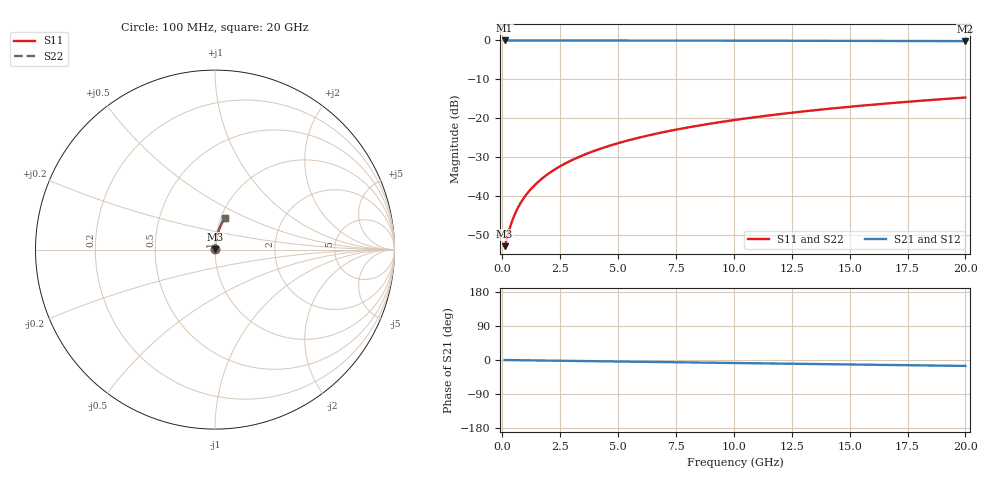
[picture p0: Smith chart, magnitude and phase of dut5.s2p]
! Touchstone file exported from HFSS 2026.1.0
!  File:  C:/ffzhzh/LocalFiles/Ansys_Project_Files/temp_val_TMRDL_5_1782902632_43084.aedt
!  Generated:  06:45:38 PM Jul  1, 2026
!  Design:  TMRDL
!  Project:  temp_val_TMRDL_5_1782902632_43084
! Variables:
!  h_bsmrdl = 2um
!  h_ox = 20um
!  h_rdl = 5um
!  h_sub = 80um
!  h_tmrdl = 2um
!  h_tsv = 80um
!  h_via = 3um
!  l_bsmrdl = 300um
!  l_sub = 565.6um
!  l_tmrdl = 165.6um
!  m_sub = 200um
!  pitch = 46.52um
!  r_tsv = 6um
!  s_tmrdl = 10um
!  w_bsmrdl = 18um
!  w_sub = 500um
!  w_tmrdl = 17.81um
!  x_tsv_center1 = 174.505um
!  x_tsv_center2 = 492.505um
!  x_tsv_center3 = 675.915um
!  x_tsv_center4 = 993.915um
!  x_tsv_center5 = 1177.325um
!  x_tsv_center6 = 1495.325um
# GHz S MA R 50.000000
! Terminal data exported
! Port[1] = TM_RDL1_1_T1
! Port[2] = TM_RDL1_1_T2
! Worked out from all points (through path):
!   200 points, 100 MHz to 20 GHz, reference 50 ohm
!   highest |S21| = -0.02 dB at 100 MHz (marker M1); lowest = -0.2 dB at 20 GHz (marker M2)
!   group delay of S21, straight-line fit = 2.17 ps
!   lowest |S11| = -52.8 dB at 100 MHz (marker M3), VSWR 1.00, Z = 50.2 + j0.102 ohm
!   |S11| at or under -10 dB: start of sweep to end of sweep
!   |S22| runs from -52.8 to -14.7 dB; largest |S21 - S12| = 2.4e-15
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0.1  0.002286 26.5  0.998 -0.1  0.998 -0.1  0.002286 26.5
! Gamma 0 0 0 0
! Port Impedance 50 0 50 0
0.3  0.003704 55.3  0.9979 -0.2  0.9979 -0.2  0.003704 55.3
0.4  0.004581 61.9  0.9979 -0.3  0.9979 -0.3  0.004581 61.9
0.5  0.005492 66.2  0.9978 -0.4  0.9978 -0.4  0.005492 66.2
0.6  0.006418 69.2  0.9978 -0.5  0.9978 -0.5  0.006418 69.2
0.7  0.007349 71.5  0.9977 -0.6  0.9977 -0.6  0.007349 71.5
0.9  0.009217 74.6  0.9976 -0.7  0.9976 -0.7  0.009217 74.6
1.2  0.01202 77.4  0.9975 -1.0  0.9975 -1.0  0.01202 77.4
1.4  0.01389 78.6  0.9974 -1.1  0.9974 -1.1  0.01389 78.6
1.7  0.01671 79.9  0.9973 -1.4  0.9973 -1.4  0.01671 80.0
2.2  0.02142 81.3  0.9972 -1.8  0.9972 -1.8  0.02142 81.3
2.8  0.02709 82.2  0.997 -2.2  0.997 -2.2  0.02709 82.2
3.5  0.03372 82.6  0.9967 -2.8  0.9967 -2.8  0.03372 82.6
4.2  0.04036 82.7  0.9964 -3.4  0.9964 -3.4  0.04036 82.7
5  0.04794 82.6  0.996 -4.0  0.996 -4.0  0.04794 82.6
5.9  0.05645 82.4  0.9955 -4.7  0.9955 -4.7  0.05645 82.4
6.8  0.06493 81.9  0.9949 -5.4  0.9949 -5.4  0.06493 82.0
8.3  0.07902 81.1  0.9937 -6.6  0.9937 -6.6  0.07902 81.1
10.1  0.0958 80.0  0.992 -8.0  0.992 -8.0  0.0958 80.0
13.4  0.1261 77.7  0.9882 -10.6  0.9882 -10.6  0.1261 77.7
16.7  0.1559 75.3  0.9835 -13.1  0.9835 -13.1  0.1559 75.3
20  0.1848 72.9  0.9781 -15.6  0.9781 -15.6  0.1848 72.9
